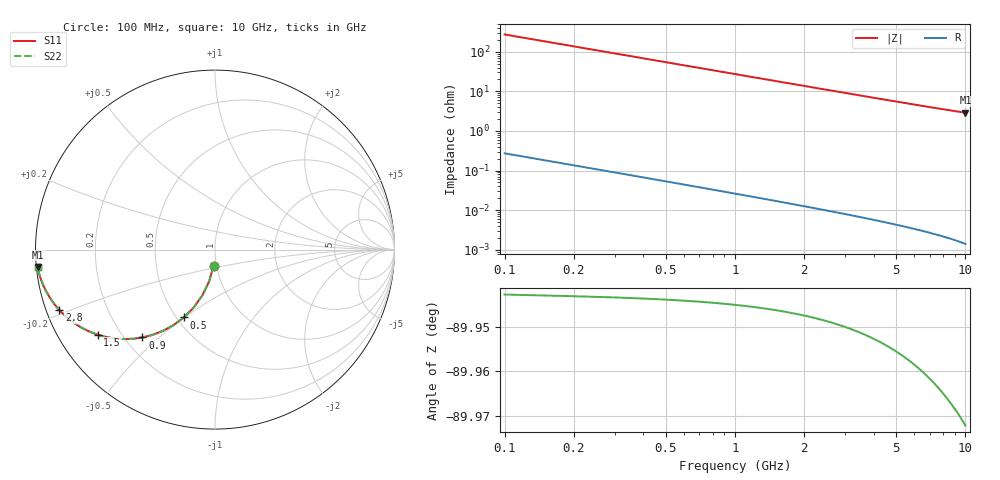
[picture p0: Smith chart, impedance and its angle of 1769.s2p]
# Hz S RI R 50.00
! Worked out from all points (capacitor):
!   100 points, 100 MHz to 10 GHz, reference 50 ohm
!   read as one part in shunt: C = 5.83 pF near 100 MHz
!   lowest |Z| = 2.88 ohm at 10 GHz (marker M1)
!   S11 on the Smith chart (normalised r, x): 100 MHz: 0.97, -0.18; 500 MHz: 0.54, -0.50; 900 MHz: 0.27, -0.44; 1.5 GHz: 0.12, -0.32; 2.8 GHz: 0.04, -0.19; 10 GHz: 0.00, -0.05
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1e8  -0.00834 -0.0907  0.9915 -0.0909  0.9915 -0.0909  -0.00834 -0.0907
2e8  -0.0326 -0.177  0.9673 -0.1773  0.9673 -0.1773  -0.0326 -0.177
3e8  -0.0703 -0.255  0.9296 -0.2555  0.9296 -0.2555  -0.0703 -0.255
4e8  -0.1185 -0.3224  0.8814 -0.323  0.8814 -0.323  -0.1185 -0.3224
5e8  -0.1735 -0.3778  0.8264 -0.3786  0.8264 -0.3786  -0.1735 -0.3778
6e8  -0.232 -0.4212  0.7679 -0.4221  0.7679 -0.4221  -0.232 -0.4212
7e8  -0.2913 -0.4533  0.7085 -0.4545  0.7085 -0.4545  -0.2913 -0.4533
8e8  -0.3493 -0.4756  0.6506 -0.4769  0.6506 -0.4769  -0.3493 -0.4756
9e8  -0.4045 -0.4896  0.5954 -0.491  0.5954 -0.491  -0.4045 -0.4896
1e9  -0.4561 -0.4968  0.5438 -0.4984  0.5438 -0.4984  -0.4561 -0.4968
1.2e9  -0.5469 -0.4963  0.453 -0.4983  0.453 -0.4983  -0.5469 -0.4963
1.5e9  -0.6534 -0.4741  0.3464 -0.4766  0.3464 -0.4766  -0.6534 -0.4741
1.8e9  -0.7308 -0.4415  0.2691 -0.4445  0.2691 -0.4445  -0.7308 -0.4415
2e9  -0.7702 -0.4185  0.2297 -0.4218  0.2297 -0.4218  -0.7702 -0.4185
2.3e9  -0.8159 -0.3851  0.184 -0.3889  0.184 -0.3889  -0.8159 -0.3851
2.8e9  -0.8679 -0.3357  0.132 -0.3403  0.132 -0.3403  -0.8679 -0.3357
3.4e9  -0.9065 -0.2878  0.0934 -0.2933  0.0934 -0.2933  -0.9065 -0.2878
4.2e9  -0.9367 -0.2394  0.0631 -0.2462  0.0631 -0.2462  -0.9367 -0.2394
5.1e9  -0.9562 -0.1996  0.0436 -0.208  0.0436 -0.208  -0.9562 -0.1996
6.7e9  -0.9743 -0.1519  0.0255 -0.163  0.0255 -0.163  -0.9743 -0.1519
8.4e9  -0.9836 -0.1191  0.0162 -0.1331  0.0162 -0.1331  -0.9836 -0.1191
1e10  -0.9884 -0.0973  0.0113 -0.1141  0.0113 -0.1141  -0.9884 -0.0973
